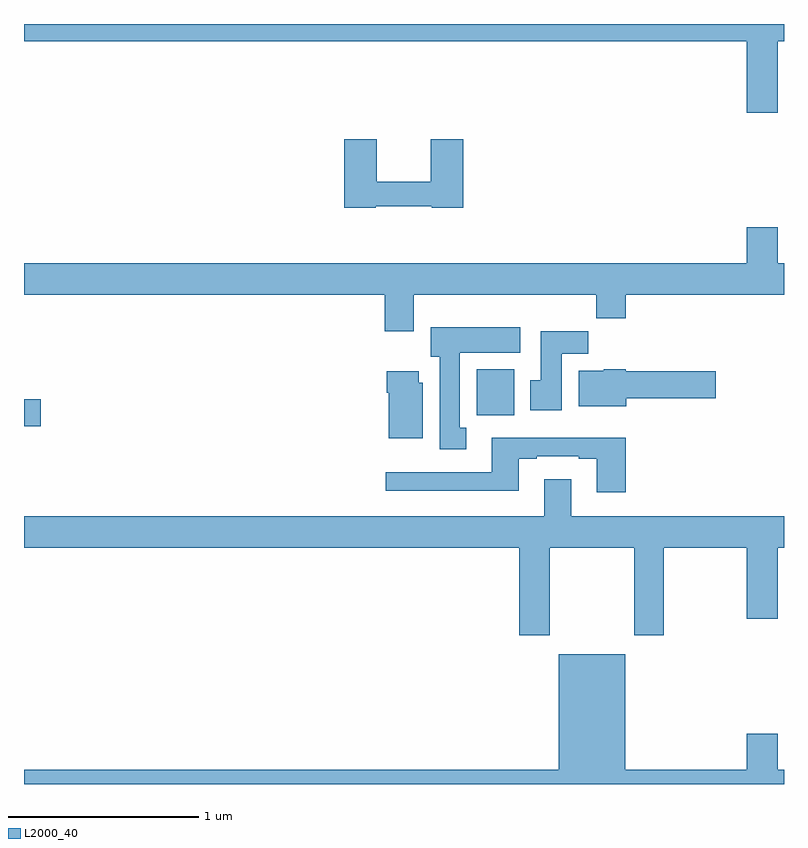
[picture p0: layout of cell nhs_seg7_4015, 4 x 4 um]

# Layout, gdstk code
import gdstk
lib = gdstk.Library(unit=1e-6, precision=1e-09)
def R(c, l, rs):  # rectangles x0, y0, x1, y1
    for r in rs: c.add(gdstk.rectangle(r[:2], r[2:], *l))
def P(c, l, *ps):  # polygons
    for p in ps: c.add(gdstk.Polygon(p, *l))
L2000_40 = (2000, 40)

nhs_seg7_4015 = lib.new_cell('nhs_seg7_4015')
R(nhs_seg7_4015, L2000_40, [(365,1039.882,365.089,1040.024), (367.382,1039.94,367.579,1040.182)])
P(nhs_seg7_4015, L2000_40, [(368.968,1041.908),(369,1041.908),(369,1042),(365,1042),(365,1041.908),(368.804,1041.908),(368.804,1041.534),(368.968,1041.534)],
  [(366.852,1041.042),(367.146,1041.042),(367.146,1041.034),(367.313,1041.034),(367.313,1041.394),(367.142,1041.394),(367.142,1041.17),(366.856,1041.17),(366.856,1041.394),(366.686,1041.394),(366.686,1041.034),(366.852,1041.034)],
  [(367.051,1040.576),(368.011,1040.576),(368.011,1040.452),(368.168,1040.452),(368.168,1040.576),(369,1040.576),(369,1040.74),(368.968,1040.74),(368.968,1040.929),(368.804,1040.929),(368.804,1040.74),(365,1040.74),(365,1040.576),(366.899,1040.576),(366.899,1040.382),(367.051,1040.382)],
  [(367.327,1039.874),(367.294,1039.874),(367.294,1040.27),(367.612,1040.27),(367.612,1040.404),(367.142,1040.404),(367.142,1040.25),(367.187,1040.25),(367.187,1039.761),(367.327,1039.761)],
  [(367.831,1040.264),(367.97,1040.264),(367.97,1040.382),(367.721,1040.382),(367.721,1040.124),(367.664,1040.124),(367.664,1039.968),(367.831,1039.968)],
  [(368.17,1040.03),(368.641,1040.03),(368.641,1040.172),(368.166,1040.172),(368.166,1040.182),(368.052,1040.182),(368.052,1040.176),(367.919,1040.176),(367.919,1039.988),(368.17,1039.988)],
  [(367.099,1040.112),(367.078,1040.112),(367.078,1040.173),(366.908,1040.173),(366.908,1040.06),(366.92,1040.06),(366.92,1039.82),(367.099,1039.82)],
  [(368.168,1039.822),(367.463,1039.822),(367.463,1039.641),(366.903,1039.641),(366.903,1039.544),(367.603,1039.544),(367.603,1039.713),(367.699,1039.713),(367.699,1039.725),(367.919,1039.725),(367.919,1039.713),(368.015,1039.713),(368.015,1039.536),(368.168,1039.536)],
  [(367.767,1039.244),(368.212,1039.244),(368.212,1038.783),(368.367,1038.783),(368.367,1039.244),(368.804,1039.244),(368.804,1038.87),(368.968,1038.87),(368.968,1039.244),(369,1039.244),(369,1039.408),(367.879,1039.408),(367.879,1039.603),(367.739,1039.603),(367.739,1039.408),(365,1039.408),(365,1039.244),(367.607,1039.244),(367.607,1038.783),(367.767,1038.783)],
  [(368.164,1038.682),(367.814,1038.682),(367.814,1038.076),(365,1038.076),(365,1038),(369,1038),(369,1038.076),(368.968,1038.076),(368.968,1038.265),(368.804,1038.265),(368.804,1038.076),(368.164,1038.076)])

lib.write_gds('nhs_seg7_4015.gds')
